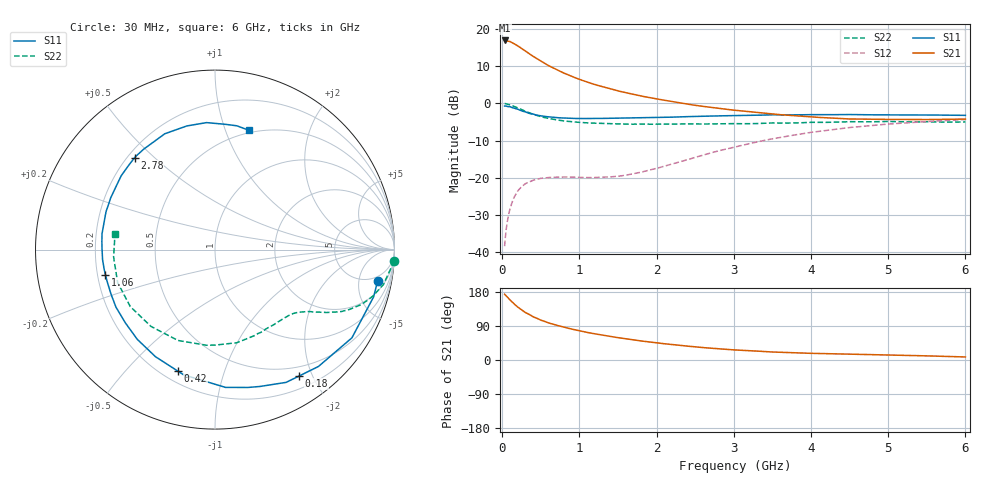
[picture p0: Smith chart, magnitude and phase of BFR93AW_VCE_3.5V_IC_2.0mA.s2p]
! Infineon Technologies  Discrete & RF Semiconductors
! BFR93AW
! VCE =  3.5 V,  IC =  2.0 mA
! Common Emitter S-Parameters:  Nov 2015
# GHz  S  MA  R  50
!  f  S11  S21  S12  S22
! GHz  MAG  ANG  MAG  ANG  MAG  ANG  MAG  ANG
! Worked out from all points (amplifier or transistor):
!   206 points, 30 MHz to 6 GHz, reference 50 ohm
!   highest |S21| = 17.0 dB at 30 MHz (marker M1)
!   |S21| within 3 dB of that: start of sweep to 311.1 MHz
!   unconditionally stable (mu >= 1): 1.219 GHz to 2.358 GHz
!   at 200 MHz: K = 0.17, MSG = 19.5 dB, |S12| = -23.6 dB
!   at 1.56 GHz: K = 1.16, MAG = 8.8 dB, |S12| = -19.4 dB
!   at 6 GHz: K = 0.99, MSG = 0.1 dB, |S12| = -4.3 dB
!   S11 on the Smith chart (normalised r, x): 30 MHz: 3.72, -8.83; 180 MHz: 0.37, -1.81; 420 MHz: 0.26, -0.71; 1.06 GHz: 0.23, -0.11; 2.78 GHz: 0.23, +0.43; 6 GHz: 0.47, +1.21
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0.03  0.9228 -11.0  7.041 173.6  0.012 81.9  1 -3.6
0.055  0.9174 -18.2  6.963 168.0  0.0219 79.7  0.983 -6.5
0.1  0.9075 -32.8  6.814 158.5  0.0384 72.4  0.9588 -11.7
0.15  0.8696 -48.5  6.407 148.4  0.0539 64.4  0.9164 -16.5
0.18  0.8459 -56.4  6.131 143.4  0.0613 59.7  0.8893 -18.9
0.2  0.8393 -61.8  5.975 139.8  0.0664 57.2  0.8721 -20.5
0.24  0.8029 -71.7  5.592 133.6  0.0739 52.5  0.8346 -23.0
0.3  0.7701 -85.6  5.079 125.2  0.0833 47.2  0.7844 -26.1
0.42  0.7081 -107.0  4.178 112.5  0.0936 39.6  0.7037 -29.8
0.5  0.6826 -119.1  3.713 105.1  0.0982 35.8  0.6623 -31.7
0.6  0.6614 -130.9  3.223 97.8  0.1008 33.3  0.6273 -33.4
0.66  0.6491 -136.8  3.002 94.4  0.1015 32.4  0.6119 -34.5
0.8  0.6381 -149.9  2.555 86.3  0.1023 31.5  0.5804 -37.0
1.04  0.6261 -166.0  2.039 75.4  0.1008 33.8  0.5525 -41.4
1.06  0.6261 -167.1  2.006 74.6  0.1008 34.0  0.5506 -41.9
1.5  0.6356 172.0  1.474 58.9  0.1046 46.4  0.5313 -52.0
2.02  0.649 153.0  1.142 44.6  0.1355 62.2  0.527 -66.2
2.78  0.6804 131.1  0.866 29.8  0.2271 68.9  0.5314 -88.9
3.1  0.6873 122.9  0.793 25.7  0.2723 67.0  0.5335 -98.6
4.1  0.7057 101.0  0.649 17.2  0.4206 54.5  0.5558 -133.1
5.1  0.7003 85.0  0.609 12.7  0.5357 38.6  0.5686 -164.2
6  0.6914 74.3  0.616 8.0  0.6074 25.8  0.5636 171.3
